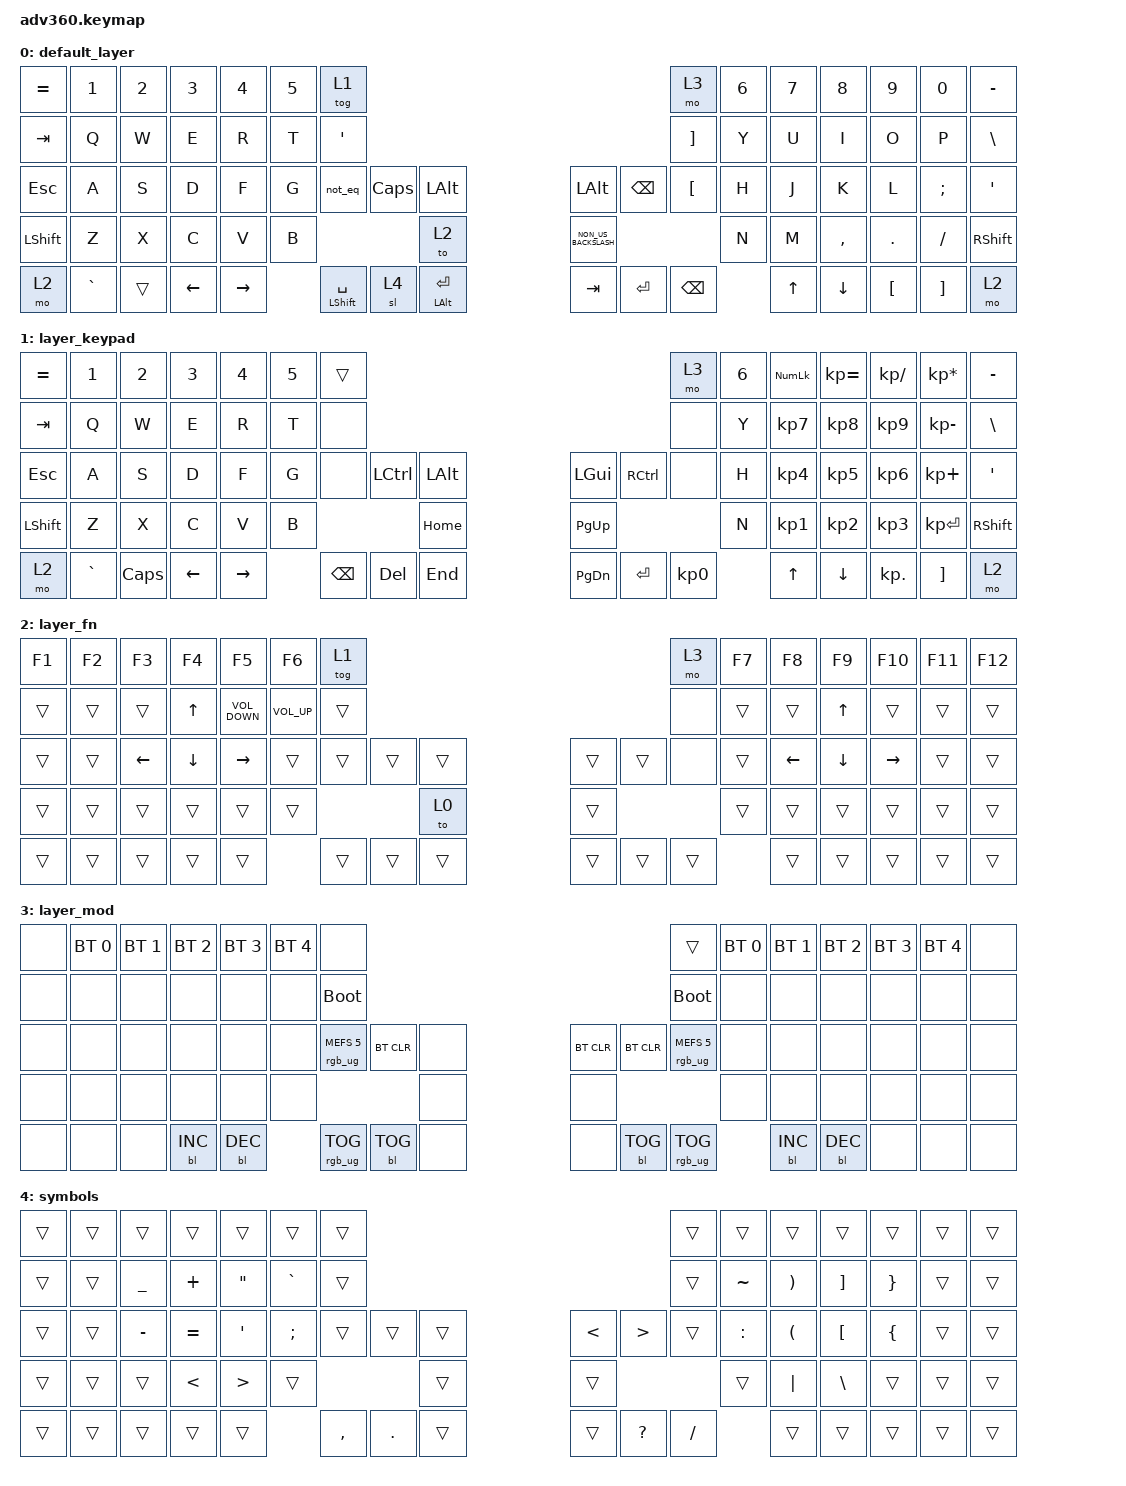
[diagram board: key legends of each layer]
/*
 * Copyright (c) 2020 The ZMK Contributors
 *
 * SPDX-License-Identifier: MIT
 */
/* THIS FILE WAS GENERATED!
 *
 * This file was generated automatically. You may or may not want to
 * edit it directly.
 */

#include <behaviors.dtsi>
#include <dt-bindings/zmk/backlight.h>
#include <dt-bindings/zmk/bt.h>
#include <dt-bindings/zmk/keys.h>
#include <dt-bindings/zmk/rgb.h>

/ {
    behaviors {
        #include "macros.dtsi"

        hm_left: hm_left {
            compatible = "zmk,behavior-hold-tap";
            label = "HM_LEFT";
            #binding-cells = <2>;
            tapping-term-ms = <150>;
            flavor = "balanced";
            bindings = <&kp>, <&kp>;
        };

        hm_right: hm_right {
            compatible = "zmk,behavior-hold-tap";
            label = "HM_RIGHT";
            bindings = <&kp>, <&kp>;

            #binding-cells = <2>;
            tapping-term-ms = <150>;
            flavor = "balanced";
        };
    };

    macros {
        not_eq: not_eq {
            compatible = "zmk,behavior-macro";
            label = "NOT_EQ";
            #binding-cells = <0>;
            bindings = <&kp EXCLAMATION &kp EQUAL>;
        };
    };

    combos {
        compatible = "zmk,combos";

        combo_rctrl {
            bindings = <&kp RCTRL>;
            key-positions = <43 44>;
        };

        combo_rsuper {
            bindings = <&kp RGUI>;
            key-positions = <43 45>;
        };

        combo_ralt {
            bindings = <&kp RIGHT_ALT>;
            key-positions = <43 46>;
        };

        combo_lctrl {
            bindings = <&kp LCTRL>;
            key-positions = <32 31>;
        };

        combo_lsuper {
            bindings = <&kp LGUI>;
            key-positions = <32 30>;
        };

        combo_lalt {
            bindings = <&kp LEFT_ALT>;
            key-positions = <32 29>;
        };
    };

    keymap {
        compatible = "zmk,keymap";

        default_layer {
            bindings = <
&kp EQUAL  &kp N1     &kp N2  &kp N3    &kp N4     &kp N5  &tog 1                                                                                                               &mo 3              &kp N6  &kp N7  &kp N8     &kp N9    &kp N0    &kp MINUS
&kp TAB    &kp Q      &kp W   &kp E     &kp R      &kp T   &kp SINGLE_QUOTE                                                                                                     &kp RIGHT_BRACKET  &kp Y   &kp U   &kp I      &kp O     &kp P     &kp BSLH
&kp ESC    &kp A      &kp S   &kp D     &kp F      &kp G   &not_eq                    &kp CAPSLOCK  &kp LALT                               &kp LALT              &kp BACKSPACE  &kp LEFT_BRACKET   &kp H   &kp J   &kp K      &kp L     &kp SEMI  &kp SQT
&kp LSHFT  &kp Z      &kp X   &kp C     &kp V      &kp B                                            &to 2                                  &kp NON_US_BACKSLASH                                    &kp N   &kp M   &kp COMMA  &kp DOT   &kp FSLH  &kp RSHFT
&mo 2      &kp GRAVE  &trans  &kp LEFT  &kp RIGHT          &hm_left LEFT_SHIFT SPACE  &sl 4         &hm_left LEFT_ALT ENTER                &kp TAB               &kp ENTER      &kp BACKSPACE              &kp UP  &kp DOWN   &kp LBKT  &kp RBKT  &mo 2
            >;
        };

        layer_keypad {
            bindings = <
&kp EQUAL  &kp N1     &kp N2    &kp N3    &kp N4     &kp N5  &trans                                                             &mo 3      &kp N6  &kp KP_NUM  &kp KP_EQUAL  &kp KP_DIVIDE  &kp KP_MULTIPLY  &kp MINUS
&kp TAB    &kp Q      &kp W     &kp E     &kp R      &kp T   &none                                                              &none      &kp Y   &kp KP_N7   &kp KP_N8     &kp KP_N9      &kp KP_MINUS     &kp BSLH
&kp ESC    &kp A      &kp S     &kp D     &kp F      &kp G   &none     &kp LCTRL  &kp LALT                &kp LGUI   &kp RCTRL  &none      &kp H   &kp KP_N4   &kp KP_N5     &kp KP_N6      &kp KP_PLUS      &kp SQT
&kp LSHFT  &kp Z      &kp X     &kp C     &kp V      &kp B                        &kp HOME                &kp PG_UP                        &kp N   &kp KP_N1   &kp KP_N2     &kp KP_N3      &kp KP_ENTER     &kp RSHFT
&mo 2      &kp GRAVE  &kp CAPS  &kp LEFT  &kp RIGHT          &kp BSPC  &kp DEL    &kp END                 &kp PG_DN  &kp ENTER  &kp KP_N0          &kp UP      &kp DOWN      &kp KP_DOT     &kp RBKT         &mo 2
            >;
        };

        layer_fn {
            bindings = <
&kp F1  &kp F2  &kp F3          &kp F4          &kp F5             &kp F6           &tog 1                                                &mo 3   &kp F7  &kp F8          &kp F9          &kp F10          &kp F11  &kp F12
&trans  &trans  &trans          &kp UP_ARROW    &kp C_VOLUME_DOWN  &kp C_VOLUME_UP  &trans                                                &none   &trans  &trans          &kp UP_ARROW    &trans           &trans   &trans
&trans  &trans  &kp LEFT_ARROW  &kp DOWN_ARROW  &kp RIGHT_ARROW    &trans           &trans  &trans  &trans                &trans  &trans  &none   &trans  &kp LEFT_ARROW  &kp DOWN_ARROW  &kp RIGHT_ARROW  &trans   &trans
&trans  &trans  &trans          &trans          &trans             &trans                           &to 0                 &trans                  &trans  &trans          &trans          &trans           &trans   &trans
&trans  &trans  &trans          &trans          &trans                              &trans  &trans  &trans                &trans  &trans  &trans          &trans          &trans          &trans           &trans   &trans
            >;
        };

        layer_mod {
            bindings = <
&none  &bt BT_SEL 0  &bt BT_SEL 1  &bt BT_SEL 2  &bt BT_SEL 3  &bt BT_SEL 4  &none                                                                            &trans                  &bt BT_SEL 0  &bt BT_SEL 1  &bt BT_SEL 2  &bt BT_SEL 3  &bt BT_SEL 4  &none
&none  &none         &none         &none         &none         &none         &bootloader                                                                      &bootloader             &none         &none         &none         &none         &none         &none
&none  &none         &none         &none         &none         &none         &rgb_ug RGB_MEFS_CMD 5  &bt BT_CLR  &none                &bt BT_CLR  &bt BT_CLR  &rgb_ug RGB_MEFS_CMD 5  &none         &none         &none         &none         &none         &none
&none  &none         &none         &none         &none         &none                                             &none                &none                                           &none         &none         &none         &none         &none         &none
&none  &none         &none         &bl BL_INC    &bl BL_DEC                  &rgb_ug RGB_TOG         &bl BL_TOG  &none                &none       &bl BL_TOG  &rgb_ug RGB_TOG                       &bl BL_INC    &bl BL_DEC    &none         &none         &none
            >;
        };

        symbols {
            bindings = <
&trans  &trans  &trans          &trans         &trans             &trans         &trans                                                                       &trans     &trans     &trans                 &trans             &trans           &trans  &trans
&trans  &trans  &kp UNDERSCORE  &kp PLUS       &kp DOUBLE_QUOTES  &kp GRAVE      &trans                                                                       &trans     &kp TILDE  &kp RIGHT_PARENTHESIS  &kp RIGHT_BRACKET  &kp RIGHT_BRACE  &trans  &trans
&trans  &trans  &kp MINUS       &kp EQUAL      &kp SINGLE_QUOTE   &kp SEMICOLON  &trans     &trans   &trans                  &kp LESS_THAN  &kp GREATER_THAN  &trans     &kp COLON  &kp LEFT_PARENTHESIS   &kp LEFT_BRACKET   &kp LEFT_BRACE   &trans  &trans
&trans  &trans  &trans          &kp LESS_THAN  &kp GREATER_THAN   &trans                             &trans                  &trans                                      &trans     &kp PIPE               &kp BACKSLASH      &trans           &trans  &trans
&trans  &trans  &trans          &trans         &trans                            &kp COMMA  &kp DOT  &trans                  &trans         &kp QUESTION      &kp SLASH             &trans                 &trans             &trans           &trans  &trans
            >;
        };
    };
};
